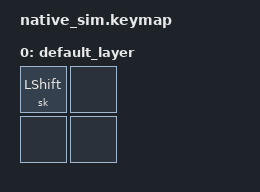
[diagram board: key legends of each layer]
#include <dt-bindings/zmk/keys.h>
#include <behaviors.dtsi>
#include <dt-bindings/zmk/kscan_mock.h>

/ {
    keymap {
        compatible = "zmk,keymap";

        default_layer {
            bindings = <&sk LEFT_SHIFT &none
                        &none &none>;
        };
    };
};

&kscan {
    events = <ZMK_MOCK_PRESS(0,0,10)
              ZMK_MOCK_RELEASE(0,0,10)
              /* the sticky key is pressed again, so the previous one must be cancelled */
              ZMK_MOCK_PRESS(0,0,10)
              ZMK_MOCK_RELEASE(0,0,1200)>;
};
